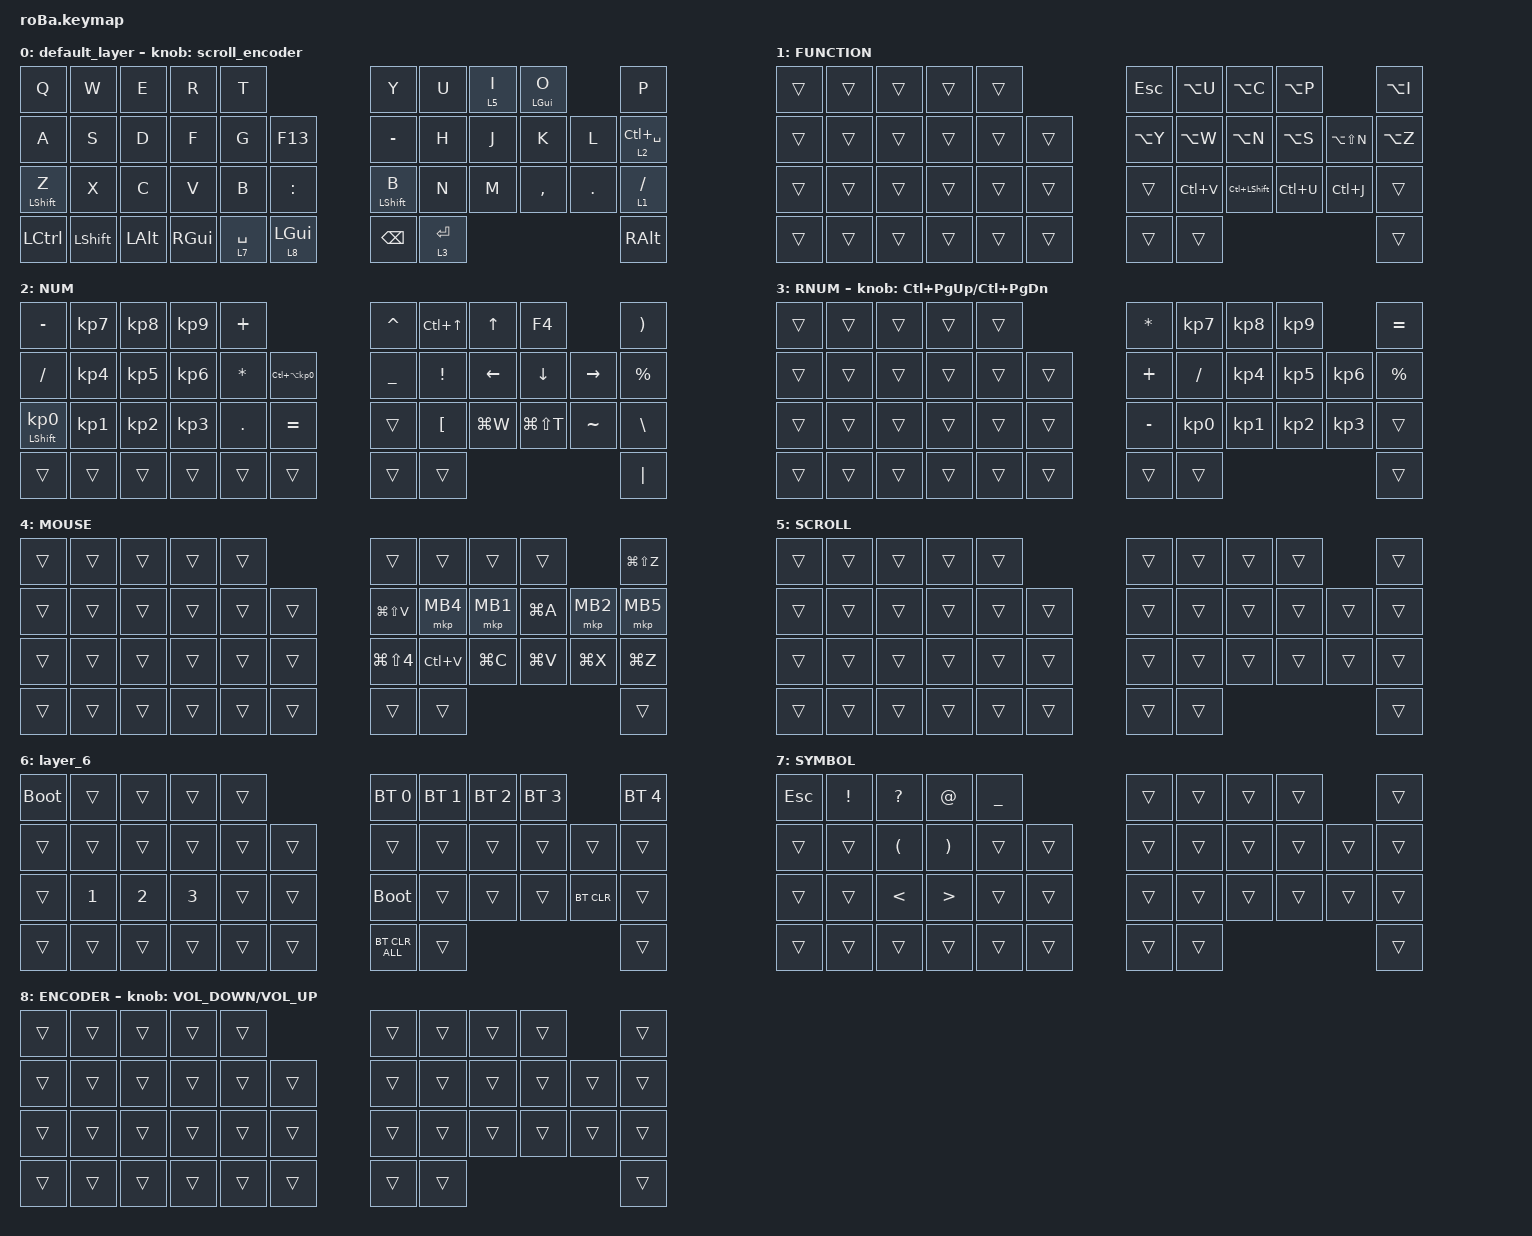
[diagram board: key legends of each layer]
// 100 = 1目盛り=1単位に減量(2026-09-01 中山「少し動かしただけでめっちゃスクロールされる」対応。旧160=2単位)。
// 1目盛りの出力 = int(この値 × trigger-period-ms(既定16) / 1000)。整数部しか出ない。
//   端数(remainder)はtick間では持ち越されるが、目盛りごとの解放時に必ず破棄される
//   (behavior_input_two_axis.c: k_work_cancel時に remainder=0。v0.3-branchソースで確認済)。
// 🔴 つまり 63〜124 はすべて「1」で挙動が同じ。62以下は出力0に切り捨て=【無言で無反応】になる。
//    1目盛り=1単位がこの仕組みの下限。これ以上減らしたければmacOS側のスクロール速度設定で絞る。
#define ZMK_POINTING_DEFAULT_SCRL_VAL 100

#include <behaviors.dtsi>
#include <dt-bindings/zmk/bt.h>
#include <dt-bindings/zmk/keys.h>
#include <dt-bindings/zmk/pointing.h>

&mt {
    flavor = "balanced";
    quick-tap-ms = <0>;
};

&lt {
    quick-tap-ms = <200>;
};

&trackball {
    automouse-layer = <4>;
    scroll-layers = <5>;

    // arrows {
    //     layers = <3>;
    //     bindings =
    //         <&kp RIGHT_ARROW>,
    //         <&kp LEFT_ARROW>,
    //         <&kp UP_ARROW>,
    //         <&kp DOWN_ARROW>;

    //     tick = <10>;
    //     wait-ms = <5>;
    //     tap-ms = <5>;
    // };
};

/ {
    combos {
        compatible = "zmk,combos";

        tab {
            bindings = <&kp TAB>;
            key-positions = <11 12>;
        };

        shift_tab {
            bindings = <&kp LS(TAB)>;
            key-positions = <12 13>;
        };

        muhennkann {
            bindings = <&to_layer_0 INT_MUHENKAN>;
            key-positions = <11 10>;
        };

        double_quotation {
            bindings = <&kp DOUBLE_QUOTES>;
            key-positions = <20 21>;
        };

        eq {
            bindings = <&kp EQUAL>;
            key-positions = <24 25>;
        };

        // 右手側の Tab / Shift+Tab (2026-08-19 中山指示。コンボを右手へ寄せる方針)
        // 🔴 layers = <0> が必須。コンボは既定で全レイヤーに効くため、指定しないと
        //    ボール操作で自動的に開く MOUSE層(4) でも発火し、J/K/L のクリックに混ざる。
        //    Default層に限れば、ボールを触っている間はクリックのまま・手を止めれば Tab。
        // Pの下を長押し(=Cmd) しながら J+K を叩くと ⌘Tab のアプリ切り替えになる。
        //    Cmd保持はレイヤーを変えないので layers = <0> と両立する。
        tab_right {
            bindings = <&kp TAB>;
            key-positions = <18 19>;
            layers = <0>;
        };

        shift_tab_right {
            bindings = <&kp LS(TAB)>;
            key-positions = <19 20>;
            layers = <0>;
        };

        // 右手だけでSpace(2026-08-27 中山指示)。M位置(30) + カンマ位置(31)。
        // layers = <0> は必須。無指定だと全レイヤーに効くため、
        //   ・MOUSE層(4): M=⌘C / カンマ=⌘V に混ざる(ボール操作で自動的に開く層)
        //   ・NUM層(2)  : M=← / カンマ=↓ の同時押し(斜め移動)でSpaceが暴発
        // ローマ字入力ではmの直後に必ず母音が来るので、m→カンマの連続打鍵は構造的に発生しない。
        space_right {
            bindings = <&kp SPACE>;
            key-positions = <30 31>;
            layers = <0>;
        };
    };

    // layer_6(BT設定・ブートローダー)の入口。
    // 旧: 変換キー長押し → 変換位置をLeft Commandにしたため廃止(2026-08-13)。
    // 旧2: Del位置(→layer1) + Enter(→layer3) の同時長押し(2026-08-13〜2026-09-01)。
    // 現行: 🔴 スラッシュ位置(→layer1) と Enter(→layer3) を両方200ms以上ホールド。
    //     2026-09-01にlayer1の入口をDel位置→スラッシュへ移したため、ここも連動して変わった
    //     (判定は「レイヤー1と3が同時に開いている」なので、物理キーはlayer1/3の入口に追随する)。
    //     右手だけで完結するので、左手が故障していてもブートローダーに入れる。
    conditional_layers {
        compatible = "zmk,conditional-layers";

        sys_layer {
            if-layers = <1 3>;
            then-layer = <6>;
        };
    };

    macros {
        to_layer_0: to_layer_0 {
            compatible = "zmk,behavior-macro-one-param";
            #binding-cells = <1>;
            bindings = <&to 0 &macro_param_1to1 &kp MACRO_PLACEHOLDER>;
            label = "TO_LAYER_0";
        };
    };

    behaviors {
        lt_to_layer_0: lt_to_layer_0 {
            compatible = "zmk,behavior-hold-tap";
            label = "LAYER_TAP_TO_0";
            bindings = <&mo>, <&to_layer_0>;

            #binding-cells = <2>;
            tapping-term-ms = <200>;
        };

        // ── 英字キーの長押しに機能を持たせる用(2026-08-19新設) ──────────────
        // Z の長押し = Shift。Z は【左手小指】＝離すのが遅い指。
        // ⚠️ 同日の後段で A の長押し Tab は撤去した(素の &kp A へ)。理由:
        //    中山の当初の狙いは ⌘Tab のアプリ切り替えだったが、⌘Tab は「Tabを何回も叩く」
        //    操作なので「1回出すのに400ms」の hold-tap は構造的に向かない。
        //    Shift+Tab も D+F コンボで足り、単発 Tab も S+D で足りる。
        //    最頻出キーである A に誤爆の余地を残す理由が無くなったため撤去。
        //    → 代わりに右手側へ J+K(Tab) / K+L(Shift+Tab) のコンボを新設した。
        //
        // 🔴 flavor = "tap-preferred" が今回の肝。中山の優先順位は
        //    「日常のタイピングを絶対に壊さない」＞「修飾キー操作の速さ」(2026-08-19明言)。
        //
        //  なぜ balanced ではダメか(2026-08-13に &mt LEFT_SHIFT Z を廃止した理由そのもの):
        //    balanced は「このキーを押している間に、別のキーが押されて離された」を見て
        //    長押しと判定する。ローマ字入力では「ず(z→u)」「ざ(z→a)」で
        //    Z押下 → U押下 → U解放 → Z解放 の順になることがあり(小指は離れるのが遅い)、
        //    その瞬間に Shift 確定 → 「ず」が「U」になる。
        //    中山の名前が「かずや」で毎回Zを打つため、この誤爆を実際に踏んでいた。
        //    🔴 この経路は tapping-term-ms を伸ばしても防げない。
        //       balanced は term 満了を待たずに「他キーの押して離す」だけで確定するため。
        //       term が効くのは「単独で長く握る」経路のみ。ここを取り違えないこと。
        //
        //  tap-preferred は「他のキーが押された時点で、迷わず英字を出す」。
        //    → 上のロール誤爆は【構造的に】起きなくなる。残る誤爆経路は
        //      「そのキーだけを term 以上、他に触らず握ったまま止まる」1通りだけ。
        //
        //  失うもの: 修飾キーとしての即応性。Shift+C は「Zを400ms握ってからC」になる。
        //    打鍵の流れの中で大文字を混ぜる用途には向かない。
        //    → 従来どおりの独立した Shift キーが左手下段2番目に残っているので、そちらを使う。
        //
        // 設定値:
        //   tapping-term-ms = 400 : これだけ握って初めて長押し確定。人間の通常の打鍵は
        //                           1キー70〜200msなので、日常打鍵の2〜5倍のマージン。
        //                           🔴 遅いと感じたら 400→300 に下げる(誤爆の余地は増える)。
        //                              逆にまだ化けるなら 400→500 に上げる。
        //   quick-tap-ms  = 200   : 直前に同じキーをタップしていたら必ず英字。
        //                           「かずや」を打ち直す時の連打や、長押しリピートを守る。
        alpha_hold: alpha_hold {
            compatible = "zmk,behavior-hold-tap";
            label = "ALPHA_HOLD";
            bindings = <&kp>, <&kp>;

            #binding-cells = <2>;
            flavor = "tap-preferred";
            tapping-term-ms = <400>;
            quick-tap-ms = <200>;
        };

        // 🔴 2026-09-01から未使用(Pの下を &lt 2 LC(SPACE) に変更したため)。定義だけ残置
        //    (同日R20でMOUSE層のPの下も⌘→進むに変わり、当初想定した再利用先も消えた)。
        // Pの下(RC(1,11)) 用。タップ = Ctrl+Space(IME切替) / 長押し = 左Command。
        // 2026-08-19 中山指示: MOUSE層の同じ位置が `&kp LGUI` なので、Default層でも
        // 同じ位置を長押しCmdにして「ボールを触っていてもいなくても同じ指の動き」に揃える。
        //
        // 🔴 flavor は "balanced" でなければならない(alpha_hold の tap-preferred は使えない)。
        //    tap-preferred は他キーの press 時点で tap を確定するため、Cmd を保持したまま
        //    別のキーを打つ = 修飾キーとしての用途が成立しない(Ctrl+Space が出てしまう)。
        //    balanced なら「他キーの押して離す」で hold 確定 → ⌘C / ⌘Tab が自然に効く。
        //  誤爆の向き: Z/A と逆で「押したまま次を打つ」が正常な使い方なので、
        //    ロール誤爆という概念がない。代わりに「単独でゆっくり押すと Cmd に化ける」側だけ
        //    気にすればよく、それは tapping-term で調整する。
        //
        //   tapping-term-ms = 250 : IME切替は叩く操作(通常70-150ms)なので余裕を持たせた。
        //                           🔴 IME切替が Cmd に化けるなら 250→350 に上げる。
        //                              Cmd を出すのが遅いなら 250→200 に下げる。
        //   quick-tap-ms  = 200   : 直前にタップしていたら必ず Ctrl+Space。
        //                           切り替えすぎて即戻す時の連打を守る。
        cmd_ime: cmd_ime {
            compatible = "zmk,behavior-hold-tap";
            label = "CMD_IME";
            bindings = <&kp>, <&kp>;

            #binding-cells = <2>;
            flavor = "balanced";
            tapping-term-ms = <250>;
            quick-tap-ms = <200>;
        };

        // エンコーダでマウスホイールスクロール。
        //
        // 🔴 tap-ms は「短すぎると効かない・長すぎると固まる」の両側に崖がある。25が現行の着地点。
        //
        //  下側の崖(5ms=既定): &msc は trigger-period-ms(既定16ms)ごとにしか発火しないので、
        //    押下→解放が16msより短いと一度も出力されない。2026-08-09〜08-14の無反応はこれ。
        //  上側の崖(40ms): sensor-rotate は1目盛りごとに共有の behavior queue へ
        //    「押す(wait=tap-ms)」「離す(wait=0)」を積む。行列は直列処理なので
        //    1目盛りが tap-ms ぶん行列を占有し、40msだと毎秒25目盛りしか捌けない。
        //    triggers-per-rotation=10 なので毎秒2.5回転を超えると行列が伸び、
        //    溢れると zmk_behavior_queue_add の戻り値は捨てられるため黙って落ちる。
        //    「押す」が先に積まれるので境界では【離すだけが消え】、&msc の速度が
        //    ゼロに戻らず永久スクロールになる(2026-08-14に実機で発生)。
        //
        // 対策: tap-ms=25(16ms周期を1回だけ跨ぐ最小付近) + queue 64→256(roBa_R.conf)
        //       これは穴を塞ぐのではなく余裕を約6倍に広げる対処。極端な高速回転では理屈上まだ再発しうる。
        //       確実に固めたくない場合の唯一の安全策は &inc_dec_kp PG_UP PG_DN へ戻すこと。
        // 復旧方法: 固まったら電源スイッチOFF→ON(内部の速度状態が消える)。
        scroll_encoder: scroll_encoder {
            compatible = "zmk,behavior-sensor-rotate";
            label = "SCROLL_ENCODER";
            #sensor-binding-cells = <0>;
            bindings = <&msc SCRL_UP>, <&msc SCRL_DOWN>;
            tap-ms = <25>;
        };
    };

    keymap {
        compatible = "zmk,keymap";

        // 左手下段(外側→内側): Ctrl / Shift / Alt / 右Cmd / Space / 左Cmd
        //   2026-08-14に左右Cmdの位置を入れ替え、さらにENCODER層(音量)のトリガーを
        //   いちばん内側=エンコーダに近い側(無変換位置)へ戻した(中山指示)。
        //   🔴 押しっぱなしにできるのは【右Cmd(変換位置)】。Cmd+C等の修飾用途はこちらを使う。
        //      左Cmd(無変換位置)は長押しでENCODER層が開くのでタップ専用。
        //   左右Commandのタップは BetterTouchTool 側で半角/英数の切替に割り当てて使う。
        //   Pの下: クォート→伸ばし棒→【Ctrl+Space(IME切替)】へ再移設(2026-08-14)。伸ばし棒は内側上の1箇所に戻った。
        //   🔴 右手内側の下(RC(3,7))は旧Ctrl+Space→【B】に変更。分割前は右手人差し指でBを打っていた癖に合わせる。
        //      この位置は layer_6 で【右手ブートローダー】でもある(物理位置で固定)。
        //      呼び方を『Ctrl+Space位置』→『Bの位置』に更新すること。手順書の記述も追随済み。
        //   FUNCTION層(1): Pの位置=Alt+C(Ghosttyのkeybindが /clear + Enter に展開)
        //                 Pのすぐ下=Alt+P(Claude Code内蔵のモデル選択を開く)
        //   ⛔ 2026-09-01で解消 〜旧: Del位置は &lt 1 RIGHT_ALT ＝ RightAltを押しっぱなしに
        //      できない〜 → Del位置を素の &kp RIGHT_ALT に変更したため押しっぱなし可能になった。
        //      レイヤー1の完成形(LA(x))キーは残置(慣れた操作を先に消さない)。
        //
        //   2026-08-19: Z に長押しの二役を追加(中山指示)。実機で「かずや」の誤爆が
        //     解消したことを確認済み。
        //     Z: タップ=Z / 長押し(400ms)=Shift (2026-08-13に廃止した &mt LEFT_SHIFT Z の
        //        復活。ただし当時の誤爆の原因だった判定方式は変えてある)
        //     🔴 「他のキーを押した瞬間に英字が確定する」方式(tap-preferred)。
        //        長押しを出すには【Zだけを400ms握る】。理由は behaviors の alpha_hold。
        //     A は同日に一度 Tab を載せたが撤去済み(理由は alpha_hold のコメント)。
        //
        //   2026-08-19: Pの下(idx21) を `&cmd_ime LGUI LC(SPACE)` に変更(中山指示)。
        //     タップ=Ctrl+Space(IME切替・従来どおり) / 長押し=左Command。
        //     MOUSE層の同じ位置が `&kp LGUI` なので、ボールを触っていてもいなくても
        //     同じ指の動きで Cmd を保持できるように揃えた。
        //     ⌘Tab は「Pの下を長押し + J+K を叩く」で右手だけで完結する。
        //
        //   🔴 2026-09-01(ラウンド19) 入口の大移動(中山指示):
        //     ・Pの下 = &lt 2 LC(SPACE)。タップ=⌃Space(IME・従来どおり) / 長押し=NUM層(2)。
        //       長押し⌘は廃止 → ⌘Tabの「Pの下+J+K」フローも消滅。代替=Oを0.4秒握って⌘+J+K。
        //     ・スラッシュ = &lt 1 SLASH。長押しがNUM層→FUNCTION層(1)に変更。
        //     ・Del位置 = 素の &kp RIGHT_ALT(押しっぱなし可能になった)。
        //     ・O = &alpha_hold LGUI O。タップ=O / 0.4秒握る=⌘。
        //       🔴 flavor は tap-preferred(Zと同じ)が必須。Oは母音で最頻出級のため、
        //       balanced だとローマ字のロール(「ou」等)で ⌘U など破壊的誤爆が出る。
        //       代償: ⌘コンボは「Oを0.4秒握ってから」の2拍(R20でMOUSE層のPの下⌘も
        //       廃止したため、右手の⌘はOに一本化。左手なら右Cmdが常に即時)。
        //     ・layer_6(書き込みモード)の入口もスラッシュ+Enterに連動変更(conditional_layers参照)。
        //
        //   2026-10-12(ラウンド23): 右手B位置(idx28) = &alpha_hold LEFT_SHIFT B(中山指示)。
        //     タップ=B(従来どおり) / 0.4秒握る=Shift。Zと同じ tap-preferred(理由は alpha_hold)。
        //     balanced にしない理由: 「ば/べ/ぼ」等で B↓→(左手)A↓→A↑→B↑ のロールが起き、Shift+A に化けるため。
        //     MOUSE層(⌘⇧4)・layer_6(右手ブートローダー)の同じ位置は各層の定義が優先されるので影響なし。
        default_layer {
            bindings = <
&kp Q                      &kp W           &kp E         &kp R     &kp T                                     &kp Y          &kp U        &lt 5 I  &alpha_hold LGUI O  &kp P
&kp A                      &kp S           &kp D         &kp F     &kp G        &kp F13                      &kp MINUS      &kp H        &kp J    &kp K      &kp L    &lt 2 LC(SPACE)
&alpha_hold LEFT_SHIFT Z   &kp X           &kp C         &kp V     &kp B        &kp COLON                    &alpha_hold LEFT_SHIFT B   &kp N        &kp M    &kp COMMA  &kp DOT  &lt 1 SLASH
&kp LCTRL                  &kp LEFT_SHIFT  &kp LEFT_ALT  &kp RGUI  &lt 7 SPACE  &lt 8 LGUI                   &kp BACKSPACE  &lt 3 ENTER                                &kp RIGHT_ALT
            >;

            // 2026-08-14: マウスホイール化が動作したため PageUp/Down から昇格。
            // 同日、高速回転で永久スクロールになる不具合を回収し tap-ms を 40→25 に。詳細は behaviors 側のコメント。
            sensor-bindings = <&scroll_encoder>;
        };

        // FUNCTION(1): 🔴 スラッシュ位置の長押し中(2026-09-01にDel位置長押しから移設)。
        //   🔴 2026-10-12(ラウンド23)に右手上段・中段を再編(中山指示)。現行:
        //   上段 = Esc ＋ Claude Code 操作。U/I/伸ばし棒位置の Alt+x は Ghostty の keybind
        //          (~/.config/ghostty/config)が文字列に展開して流し込む(IMEを経由しない)。
        //     Y=Escape(不変・R23b で戻した)  U=Alt+U(→`/exit`+Enter)
        //     I=Alt+C(→`/clear`+Enter)  O=Alt+P(Claude Code内蔵のモデル選択)  P=Alt+I(→`/effort`+Enter)
        //     🔴 2026-10-13(R23c・中山指示): /clear と /effort の位置を入れ替えた(I⇔P)。
        //        R22までの「P=/clear」の指の記憶は変わる。Ghostty 側の alt+c / alt+i は不変。
        //   中段 = herdr のペイン操作(~/.config/herdr/config.toml の [keys])。
        //     伸ばし棒位置(idx16)=Alt+Y(→`claude-pick`+Enter・シェルのコマンド)
        //     H=Alt+W(閉じる)  J=Alt+N(縦分割)  K=Alt+S(横分割)  L=Alt+Shift+N(新workspace)  Pの下=Alt+Z(ズーム)
        //   下段: N=Ctrl+V  M=Ctrl+Shift(単体)  カンマ=Ctrl+U  ピリオド=Ctrl+J(不変)
        //   2026-10-13(R23b・中山「エスケープがなくなるのはでかい」): R23 で Y に置いた claude-pick を
        //     伸ばし棒位置(R23 まで &trans=空き)へ移し、Y を Escape に戻した。
        //     Ghostty 側の文字は alt+y のまま(キーの物理位置と Ghostty の文字は独立)。
        //   R23で層から外れたもの: U=Alt+R(herdrの最近のMD一覧) / I=Alt+F(herdrのファイルビューア)。
        //     後2つは Del位置(素のRightAlt・押しっぱなし可)+R / +F で今も直接打てる
        //     (Ghostty の macos-option-as-alt=true は左右どちらの⌥にも効く)。
        //   ── 以下はR22までの経緯 ──
        //   2026-08-27に右手を全面再編(中山指示)。
        //   上段: Y=Escape  U=Alt+R  I=Alt+F  O=Alt+W  P=Alt+C(Ghostty経由で /clear)
        //   中段: J=Alt+N   K=Alt+S  L=Alt+Shift+N   Pの下=Alt+P(モデル選択)
        //   下段: N=Ctrl+V  M=Ctrl+Shift(単体)  カンマ=Ctrl+U  ピリオド=Ctrl+J
        //   ※ Alt系はターミナル/エディタ側のキーバインド用。レイヤーの入口キーは
        //     修飾キーとして押しっぱなしにできないため、完成形(LA(x))を層に置くのが唯一の手。
        //   ※ 2026-08-27の後段でさらに移動: Ctrl+V を B位置(idx28)→N位置(idx29)へ。
        //     B位置は空けた(MOUSE層で同じ位置に⌘⇧4を置いたので、指の記憶を衝突させない)。
        // 🔴 この再編で消えた機能(意図的・中山指示の結果):
        //   ・M位置の &kp LGUI(Cmd押しっぱなし) → レイヤー1経由の⌘Tab(M保持+ピリオド連打)が消滅。
        //     代替はラウンド14で作った右手コンボ(Pの下を長押し=⌘ + J+K=Tab)。
        //   ・J=Ctrl+Shift+Tab / L=Ctrl+Tab のタブ前後切替が両方消滅。
        //     代替はRNUM層(Enter長押し)のエンコーダ回転=Ctrl+PageUp/Down。
        //   ・K位置のMission Control と カンマ位置のF4(Launchpad) はNUM層(2)のO/L位置へ移設。
        //   ・Ctrl+U はH位置から、Ctrl+J はU位置から移動(元の位置は素通しに戻した)。
        FUNCTION {
            bindings = <
&trans  &trans  &trans  &trans  &trans                      &kp ESCAPE  &kp LA(U)   &kp LA(C)      &kp LA(P)  &kp LA(I)
&trans  &trans  &trans  &trans  &trans  &trans      &kp LA(Y)  &kp LA(W)   &kp LA(N)      &kp LA(S)  &kp LA(LS(N))  &kp LA(Z)
&trans  &trans  &trans  &trans  &trans  &trans      &trans  &kp LC(V)   &kp LC(LSHFT)  &kp LC(U)  &kp LC(J)      &trans
&trans  &trans  &trans  &trans  &trans  &trans      &trans  &trans                                               &trans
            >;
        };

        // NUM(2): 🔴 Pの下の長押し中(2026-09-01にスラッシュ長押しから移設)。
        //   2026-09-01: 右手を再編(中山指示)。矢印を1段上げてホーム段の逆T字に:
        //     I=↑ / J=← / K=↓ / L=→。U=Mission Control(⌃↑) / O=F4(Launchpad) /
        //     M=⌘W(タブ閉じる) / カンマ=⌘⇧T(タブ復元)。
        //     ~(チルダ)は↑に押し出されたため、空いたピリオド位置(idx32)へ退避(指示外・要報告)。
        //   🔴 入口がPの下(idx21)になったので、この層のidx21(%)は押せない=死に機能。
        //      %はRNUM層(Enter長押し)の同じ位置に生きているので実害なし。
        //   2026-08-27: レイヤー1から追い出したウィンドウ操作をここへ移設(中山指示)。
        //   🔴 代償: "(" はSYMBOL層(Space長押し)のD位置に同じものが残るが、
        //      "$" はこの位置が唯一だったのでキーボードから消えた。
        NUM {
            bindings = <
&kp MINUS                   &kp KP_NUMBER_7  &kp KP_NUMBER_8  &kp KP_NUMBER_9  &kp PLUS                                                   &kp CARET         &kp LC(UP_ARROW)   &kp UP_ARROW    &kp F4                &kp RIGHT_PARENTHESIS
&kp SLASH                   &kp KP_NUMBER_4  &kp KP_NUMBER_5  &kp KP_NUMBER_6  &kp ASTERISK  &kp LC(LA(KP_NUMBER_0))      &kp UNDERSCORE  &kp EXCLAMATION   &kp LEFT_ARROW     &kp DOWN_ARROW    &kp RIGHT_ARROW       &kp PERCENT
&mt LEFT_SHIFT KP_NUMBER_0  &kp KP_NUMBER_1  &kp KP_NUMBER_2  &kp KP_NUMBER_3  &kp PERIOD    &kp EQUAL                    &trans          &kp LEFT_BRACKET  &kp LG(W)          &kp LG(LS(T))     &kp TILDE             &kp BACKSLASH
&trans                      &trans           &trans           &trans           &trans        &trans                       &trans          &trans                                                                     &kp PIPE
            >;
        };

        RNUM {
            bindings = <
&trans  &trans  &trans  &trans  &trans                      &kp ASTERISK  &kp KP_NUMBER_7  &kp KP_NUMBER_8  &kp KP_NUMBER_9  &kp EQUAL
&trans  &trans  &trans  &trans  &trans  &trans      &kp PLUS   &kp SLASH        &kp KP_NUMBER_4  &kp KP_NUMBER_5  &kp KP_NUMBER_6  &kp PERCENT
&trans  &trans  &trans  &trans  &trans  &trans      &kp MINUS  &kp KP_NUMBER_0  &kp KP_NUMBER_1  &kp KP_NUMBER_2  &kp KP_NUMBER_3  &trans
&trans          &trans                  &trans          &trans                   &trans   &trans      &trans  &trans                          &trans
            >;

            sensor-bindings = <&inc_dec_kp LC(PAGE_UP) LC(PAGE_DOWN)>;
        };

        // MOUSE(4): ボールを触ると自動で開く。2026-08-27に中山指示で整理。
        //   idx21(Pの下) = &kp LGUI のまま【据え置き】。
        //     🔴 一度 &mkp MB5(進む) にしたが、焼く前に中山判断で撤回した(2026-08-27)。
        //        理由: ボール操作中に⌘を保持できなくなるのが痛い(⌘クリック=新しいタブで開く)。
        //        MOUSE層が開いている間はMOUSE層の定義が優先されるため、この位置を
        //        MB5にすると Default層の hold-tap(長押し=⌘) は一切効かなくなる。
        //     ※ ボールを触った直後のIME切替が⌘に化ける件は未解決のまま残る
        //        (この位置はMOUSE層では【押した瞬間に⌘】になるため)。
        //   idx5(Y) = &trans → **&mkp MB5(進む)**。空いていた位置へ移した。
        //     H=戻る(MB4) とは離れた位置になるが、⌘を残すことを優先した。
        //   idx16(伸ばし棒) = ⌘⇧V(書式なし貼り付け)。idx8(O)から移設。
        //   idx28(B位置)   = ⌘⇧4(範囲スクショ)。idx29(N)から移設。
        //   idx6(U)        = ⌃⌘V を削除(使っていない)。
        //   idx29(N)       = &trans → **&kp LC(V)**(Ctrl+V)。⌘⇧4をB位置へ移して空いた場所。
        //   2026-09-01(R21→R22): ⌘⇧Zは Del位置→P(R21)→Del位置へ戻す(R22・中山指示)。
        //     経緯: R20書込み直後「RightAltを押すと⌘⇧Zの挙動」が発覚。ボールかすり直後0.7秒は
        //     MOUSE層が開くためキーボードは本当に⌘⇧Zを送っていたが、派手に見えた真因は
        //     **BTT側で⌘⇧Zに画面配置を割り当てていた**こと(受け手が暴発)。R21でPへ退避した後、
        //     中山がBTTの画面配置を⌥⇧系へ付け替え→⌘⇧Zは素の「やり直し」に戻ったため、
        //     R22で元のDel位置へ戻した。
        //     🔴 残置リスク(実害薄と判断): ボールかすり直後0.7秒のRightAltタップは
        //     「やり直し」として飛ぶ(直前に⌘Zした操作が再適用される可能性はある)。
        //   2026-09-01: idx33(スラッシュ位置)=⌘Z(取り消し) / idx42(Del位置)=⌘⇧Z(やり直し)。
        //     レイヤー入口キーの位置でも、MOUSE層が開いている間はMOUSE層の定義が優先される
        //     ので普通に割り当てられる。ボールが止まって0.7秒経つと
        //     MOUSE層が閉じ、同じキーが「/(長押しLayer1)」「RightAlt」に戻る点だけ注意。
        //   2026-09-01(R20): idx21(Pの下) = &kp LGUI → **&mkp MB5(進む)** / idx5(Y) = &trans に戻す。
        //     R16で「ボール中の⌘保持(⌘クリック)が消えるから」と撤回した配置だが、
        //     R19でO長押し=⌘ができて前提が変わった(中山指示)。MOUSE層のidx8(O)は&trans=
        //     Default層のalpha_holdに落ちるので、ボール操作中もOで⌘を作れる。
        //     ⌘クリックの新しい形=「Oを握りながら狙う→クリック」(狙う時間が0.4秒を吸収)。
        //     🔴 副作用: ボール直後にPの下を叩く誤爆が「⌘に化ける」→「進むに化ける」に変わった
        //       (実害が出るのは進む履歴がある画面のみ。従来の未解決問題の形が変わっただけ)。
        //   🔴 2026-10-12(R23): ⌘⇧Z(やり直し)を Del位置(idx42)→P(idx9) へ再移設。idx42 は &trans。
        //     理由(中山報告): 音声入力の起動が「Del位置(RightAlt)の2回叩き」。ボールを触った直後
        //     0.7秒はMOUSE層が開いたままなので、その2回叩きが ⌘⇧Z×2 に化けて音声が起動しない。
        //     ターミナル(Ghostty+herdr)では ⌘Z/⌘⇧Z が「z/Z の文字」として流れ込む実害もあった
        //     (Ghostty 1.3.1 の既定 super+z=undo / super+shift+z=redo は戻すものが無いと素通しになる)
        //     → Ghostty側で super+z / super+shift+z を ignore にした(~/.config/ghostty/config)。
        //     R22で許容した残置リスク(ボール直後のRightAltがやり直しに化ける)を、音声起動との
        //     衝突という実害が出たので構造で消した。Del位置はどの層でも RightAlt に固定。
        //     idx9(P)は R21 で一度使った位置。O(idx8)は &trans=Default層の alpha_hold(⌘)のまま。
        MOUSE {
            bindings = <
&trans  &trans  &trans  &trans  &trans                      &trans  &trans    &trans    &trans     &kp LG(LS(Z))
&trans  &trans  &trans  &trans  &trans  &trans      &kp LG(LS(V))  &mkp MB4  &mkp MB1  &kp LG(A)  &mkp MB2  &mkp MB5
&trans  &trans  &trans  &trans  &trans  &trans      &kp LG(LS(NUMBER_4))  &kp LC(V)  &kp LG(C)  &kp LG(V)  &kp LG(X)  &kp LG(Z)
&trans  &trans  &trans  &trans  &trans  &trans      &trans  &trans                                &trans
            >;
        };

        // Iキー長押し中。ボール移動がスクロールになる。
        // エンコーダ回転は2026-08-14にDefault層へ昇格したので、この層の個別指定は撤去。
        SCROLL {
            bindings = <
&trans  &trans  &trans  &trans  &trans                      &trans  &trans  &trans  &trans  &trans
&trans  &trans  &trans  &trans  &trans  &trans      &trans  &trans  &trans  &trans  &trans  &trans
&trans  &trans  &trans  &trans  &trans  &trans      &trans  &trans  &trans  &trans  &trans  &trans
&trans  &trans  &trans  &trans  &trans  &trans      &trans  &trans                          &trans
            >;
        };

        // BT設定・ブートローダー。入口 = 🔴 スラッシュ位置 と Enter の同時長押し(2026-09-01変更)
        // 🔴 スラッシュ位置とEnterは「入口として押しっぱなしにしている」ため、この層では押せない=
        //    そこに機能を置いてはいけない。BT_CLR_ALL は旧Del位置からBackSpace位置へ退避済(2026-08-14)。
        //    BT_CLR(そのプロファイル解除)も同じ理由で 2026-09-01 にスラッシュ位置→ピリオド位置へ退避。
        layer_6 {
            bindings = <
&bootloader  &trans        &trans        &trans        &trans                      &bt BT_SEL 0  &bt BT_SEL 1  &bt BT_SEL 2  &bt BT_SEL 3  &bt BT_SEL 4
&trans  &trans        &trans        &trans        &trans  &trans      &trans       &trans        &trans        &trans        &trans        &trans
&trans  &kp NUMBER_1  &kp NUMBER_2  &kp NUMBER_3  &trans  &trans      &bootloader  &trans        &trans        &trans        &bt BT_CLR    &trans
&trans  &trans        &trans        &trans        &trans  &trans      &bt BT_CLR_ALL  &trans                                               &trans
            >;
        };

        // SYMBOL: 左手Space長押し中。記号を出す層(2026-08-13新設)
        //   Q=Esc  W=!  E=?  R=@  T=_ / D=(  F=) / C=<  V=>   ぜんぶ左手で完結する
        //   2026-08-19: Q=Escape と T=アンダーバー を追加(中山指示)。
        //   Escapeは記号ではないが「Space長押し中に左手小指ひとつで抜けられる」ことを優先。
        SYMBOL {
            bindings = <
&kp ESCAPE  &kp EXCLAMATION  &kp QUESTION          &kp AT_SIGN            &kp UNDERSCORE                      &trans  &trans  &trans  &trans  &trans
&trans      &trans           &kp LEFT_PARENTHESIS  &kp RIGHT_PARENTHESIS  &trans          &trans      &trans  &trans  &trans  &trans  &trans  &trans
&trans      &trans           &kp LESS_THAN         &kp GREATER_THAN       &trans          &trans      &trans  &trans  &trans  &trans  &trans  &trans
&trans      &trans           &trans                &trans                 &trans          &trans      &trans  &trans                          &trans
            >;
        };

        // ENCODER: 左手下段いちばん内側(左Cmd)の長押し中。回転 = 音量上下。
        //   押し込みは Default 層で常時F13にしたので、この層では &trans で素通し(2026-08-14)。
        //   2026-09-01: 回転方向を反転(中山「上から下で音量が上がるのは直感に反する」)。
        //   &inc_dec_kp は <正方向, 逆方向> の並び。UP/DOWNを入れ替えた。
        ENCODER {
            bindings = <
&trans  &trans  &trans  &trans  &trans                        &trans  &trans  &trans  &trans  &trans
&trans  &trans  &trans  &trans  &trans  &trans        &trans  &trans  &trans  &trans  &trans  &trans
&trans  &trans  &trans  &trans  &trans  &trans        &trans  &trans  &trans  &trans  &trans  &trans
&trans  &trans  &trans  &trans  &trans  &trans        &trans  &trans                          &trans
            >;

            sensor-bindings = <&inc_dec_kp C_VOLUME_DOWN C_VOLUME_UP>;
        };
    };
};
